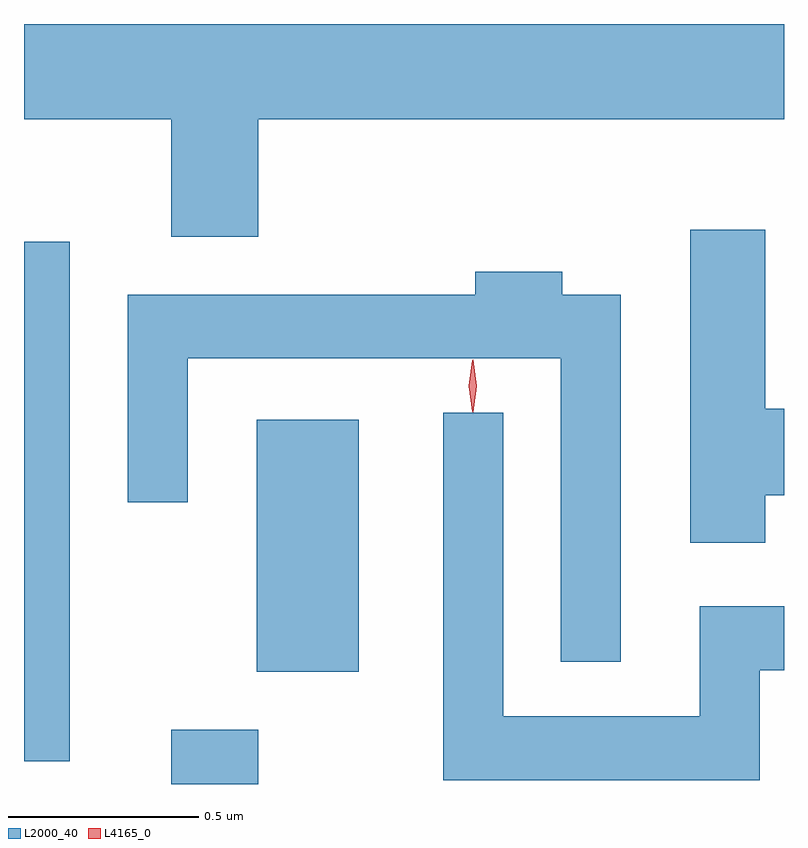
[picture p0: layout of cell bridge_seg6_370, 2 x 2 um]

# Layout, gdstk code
import gdstk
lib = gdstk.Library(unit=1e-6, precision=1e-09)
def R(c, l, rs):  # rectangles x0, y0, x1, y1
    for r in rs: c.add(gdstk.rectangle(r[:2], r[2:], *l))
def P(c, l, *ps):  # polygons
    for p in ps: c.add(gdstk.Polygon(p, *l))
L2000_40 = (2000, 40)
L4165_0 = (4165, 0)

bridge_seg6_370 = lib.new_cell('bridge_seg6_370')
R(bridge_seg6_370, L2000_40, [(1282.491,1537.186,1282.719,1537.329), (1282.103,1537.246,1282.224,1538.613), (1282.716,1537.481,1282.984,1538.144)])
P(bridge_seg6_370, L2000_40, [(1282.719,1538.936),(1284.103,1538.936),(1284.103,1539.186),(1282.103,1539.186),(1282.103,1538.936),(1282.491,1538.936),(1282.491,1538.626),(1282.719,1538.626)],
  [(1284.054,1537.946),(1284.103,1537.946),(1284.103,1538.174),(1284.054,1538.174),(1284.054,1538.644),(1283.856,1538.644),(1283.856,1537.821),(1284.054,1537.821)],
  [(1283.674,1538.474),(1283.519,1538.474),(1283.519,1538.534),(1283.291,1538.534),(1283.291,1538.474),(1282.376,1538.474),(1282.376,1537.928),(1282.534,1537.928),(1282.534,1538.306),(1283.516,1538.306),(1283.516,1537.508),(1283.674,1537.508)],
  [(1284.039,1537.486),(1284.103,1537.486),(1284.103,1537.654),(1283.881,1537.654),(1283.881,1537.364),(1283.364,1537.364),(1283.364,1538.163),(1283.206,1538.163),(1283.206,1537.196),(1284.039,1537.196)])
P(bridge_seg6_370, L4165_0, [(1283.283,1538.167),(1283.274,1538.234),(1283.283,1538.3),(1283.284,1538.3),(1283.284,1538.3),(1283.294,1538.234),(1283.284,1538.167),(1283.284,1538.167)],
  [(1283.284,1538.164),(1283.284,1538.164),(1283.274,1538.233),(1283.284,1538.302),(1283.284,1538.303),(1283.285,1538.302),(1283.294,1538.233),(1283.285,1538.164)])

lib.write_gds('bridge_seg6_370.gds')
